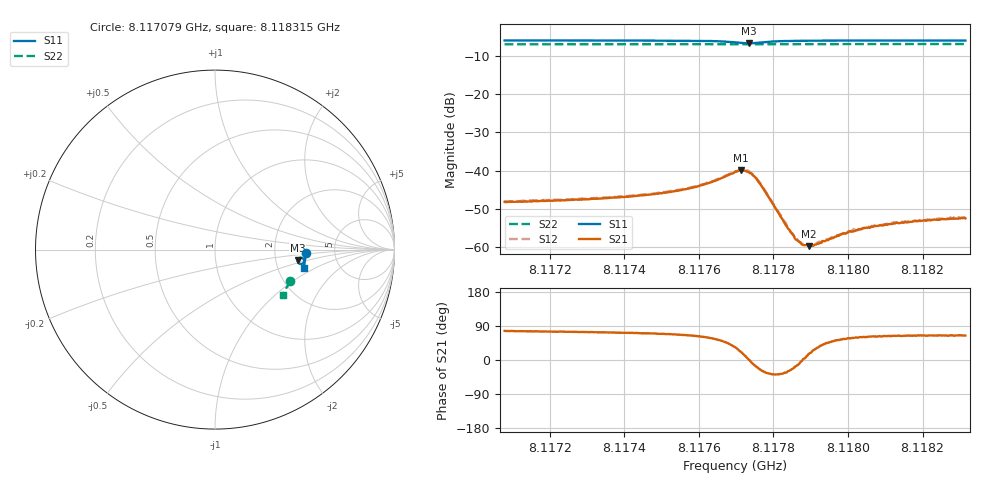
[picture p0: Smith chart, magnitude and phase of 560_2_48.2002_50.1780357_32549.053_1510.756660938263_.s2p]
#  HZ  S  RI  R  50.00
! Rohde & Schwarz Vector Network Analyzer
! Rohde-Schwarz,ZNB20-2Port,1311601062101988,3.16
! Created: UTC 3/20/2024, 12:01:09 PM
! freq[Hz]  re:S11  im:S11  re:S21  im:S21  re:S12  im:S12  re:S22  im:S22
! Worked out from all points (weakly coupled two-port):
!   401 points, 8.117079 GHz to 8.118315 GHz, reference 50 ohm
!   highest |S21| = -39.88 dB at 8.117712 GHz (marker M1); lowest = -59.7 dB at 8.117895 GHz (marker M2)
!   lowest |S11| = -6.7 dB at 8.117734 GHz (marker M3), VSWR 2.73, Z = 133 - j20.3 ohm
!   |S11| at or under -10 dB: nowhere
!   |S22| runs from -6.9 to -6.8 dB; largest |S21 - S12| = 0.00044
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8.1170788e9  0.5062 -0.0215  0.000888 0.0038  0.000997 0.00383  0.4168 -0.1737
8.1172859e9  0.5047 -0.0384  0.00116 0.00401  0.00123 0.00417  0.4115 -0.1872
8.1174342e9  0.5028 -0.0514  0.00152 0.00444  0.00157 0.00452  0.4076 -0.1967
8.1174929e9  0.5014 -0.0572  0.00179 0.00468  0.00187 0.00484  0.4057 -0.2005
8.1176011e9  0.4961 -0.0702  0.00291 0.00562  0.00303 0.00565  0.4025 -0.2077
8.1176412e9  0.4908 -0.0759  0.00409 0.00605  0.00419 0.00612  0.401 -0.2103
8.1176969e9  0.472 -0.0795  0.00802 0.00533  0.00816 0.00539  0.3984 -0.2135
8.1177123e9  0.4646 -0.0743  0.00942 0.00375  0.0095 0.00376  0.3978 -0.2141
8.117734e9  0.4606 -0.0597  0.00959 0.00019  0.00984 0.000182  0.3971 -0.2147
8.1177463e9  0.4644 -0.0514  0.00841 -0.00163  0.0086 -0.00172  0.3971 -0.215
8.1177618e9  0.4728 -0.046  0.0064 -0.00279  0.00658 -0.00289  0.3971 -0.216
8.1178328e9  0.4952 -0.0555  0.00163 -0.00107  0.0017 -0.00119  0.3958 -0.2207
8.1178606e9  0.4975 -0.0605  0.0012 -0.000344  0.0012 -0.000376  0.3951 -0.2228
8.1178761e9  0.498 -0.0631  0.00108 -5.22e-05  0.00109 -6.53e-05  0.3945 -0.2237
8.1178946e9  0.4987 -0.0658  0.000993 0.000287  0.000993 0.000262  0.3939 -0.2251
8.1179039e9  0.4987 -0.067  0.000961 0.000412  0.000985 0.000381  0.3937 -0.2256
8.1179843e9  0.4988 -0.0765  0.000868 0.00121  0.00087 0.00122  0.3912 -0.2308
8.1180182e9  0.4987 -0.0799  0.000841 0.00139  0.000869 0.00143  0.3899 -0.2329
8.1180461e9  0.4985 -0.0825  0.000883 0.00154  0.000884 0.00155  0.389 -0.2345
8.118111e9  0.4977 -0.0884  0.000882 0.00179  0.000916 0.00179  0.3868 -0.2385
8.1181789e9  0.4967 -0.0941  0.00094 0.00198  0.000956 0.002  0.3843 -0.2428
8.1183149e9  0.4946 -0.105  0.00102 0.00214  0.00109 0.00215  0.3794 -0.251
